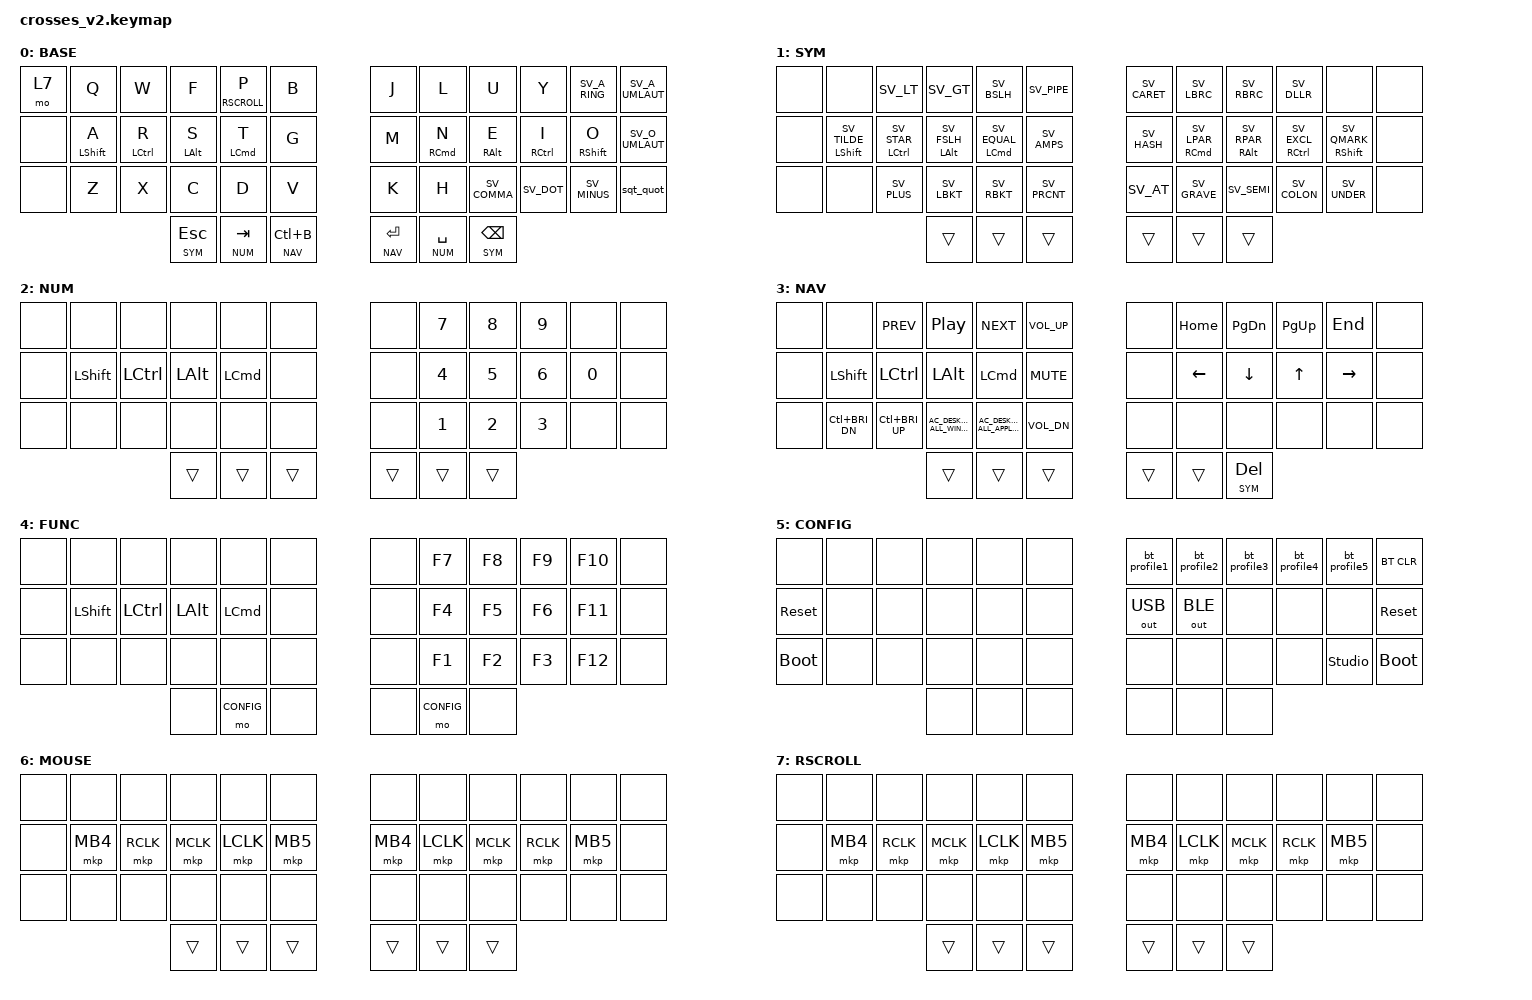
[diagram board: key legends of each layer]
#include <behaviors.dtsi>
#include <dt-bindings/zmk/bt.h>
#include <dt-bindings/zmk/keys.h>
#include <dt-bindings/zmk/outputs.h>
#include <dt-bindings/zmk/pointing.h>
#include <zephyr/dt-bindings/input/input-event-codes.h>

#ifndef KEYMAP_DRAWER
#include "keys_sv.h"
#endif

#define BASE    0
#define SYM     1
#define NUM     2
#define NAV     3
#define FN      4
#define CONFIG  5
#define MOUSE   6
#define RSCROLL 7

#define M_FIND  LG(F)
#define M_UNDO  LG(Z)
#define M_COPY  LG(C)
#define M_CUT   LG(X)
#define M_PASTE LG(V)
#define M_ALL   LG(A)
#define M_SAVE  LG(S)
#define M_NEW   LG(N)
#define TMUX    LC(B)
#define BRI_UP LC(C_BRI_UP)
#define BRI_DN LC(C_BRI_DN)

/* 
    ╭────────────────────────┬────────────────────────╮ ╭─────────────────────────┬─────────────────────────╮
    │  0   1   2   3   4   5 │  6   7   8   9  10  11 │ │ LN5 LN4 LN3 LN2 LN1 LN0 │ RN0 RN1 RN2 RN3 RN4 RN5 │
    │ 12  13  14  15  16  17 │ 18  19  20  21  22  23 │ │ LT5 LT4 LT3 LT2 LT1 LT0 │ RT0 RT1 RT2 RT3 RT4 RT5 │
    │ 24  25  26  27  28  29 │ 30  31  32  33  34  35 │ │ LM5 LM4 LM3 LM2 LM1 LM0 │ RM0 RM1 RM2 RM3 RM4 RM5 │
    ╰───────────╮ 36  37  38 │ 39  40  41 ╭───────────╯ ╰───────────╮ LH2 LH1 LH0 │ RH0 RH1 RH2 ╭───────────╯
                ╰────────────┴────────────╯                           ╰───────────┴─────────────╯
*/

/ {
    /omit-if-no-ref/ zip_temp_layer: zip_temp_layer {
        compatible = "zmk,input-processor-temp-layer";
        #input-processor-cells = <2>;
        require-prior-idle-ms = <1000>;
        excluded-positions = <13 14 15 16 17 18 19 20 21 22>;
    };
};

/ {
    chosen { zmk,physical-layout = &gggw_crosses_42_layout; };

    behaviors {
        /*
        * Sticky key settings
        */
        sk_mod: sk_mod {
            compatible = "zmk,behavior-sticky-key";
            label = "SK_MOD";
            #binding-cells = <1>;
            bindings = <&kp>;
            release-after-ms = <900>;
            quick-release;
        };

        /*
        * Homerow mods - left hand
        */
        hml: homerow_mod_left {
            compatible = "zmk,behavior-hold-tap";
            label = "HML";
            #binding-cells = <2>;
            flavor = "balanced";
            tapping-term-ms = <280>;
            quick-tap-ms = <175>;
            require-prior-idle-ms = <150>;
            bindings = <&kp>, <&kp>;
            hold-trigger-key-positions = <
                6  7  8  9  10 11
                18 19 20 21 22 23
                30 31 32 33 34 35
                39 40 41
            >;
            hold-trigger-on-release;
        };

        /*
        * Homerow mods - right hand
        */
        hmr: homerow_mod_right {
            compatible = "zmk,behavior-hold-tap";
            label = "HMR";
            #binding-cells = <2>;
            flavor = "balanced";
            tapping-term-ms = <280>;
            quick-tap-ms = <175>;
            require-prior-idle-ms = <150>;
            bindings = <&kp>, <&kp>;
            hold-trigger-key-positions = <
                0  1  2  3  4  5
                12 13 14 15 16 17
                24 25 26 27 28 29
                36 37 38
            >;
            hold-trigger-on-release;
        };

        /*
        * Navigation hold taps
        */
        /*
        mt_home: mt_home {
            compatible = "zmk,behavior-hold-tap";
            label = "MT_HOME";
            #binding-cells = <2>;
            flavor = "tap-preferred";
            tapping-term-ms = <220>;
            quick-tap-ms = <220>;
            bindings = <&kp HOME>, <&kp>;
        };

        mt_end: mt_end {
            compatible = "zmk,behavior-hold-tap";
            label = "MT_END";
            #binding-cells = <2>;
            flavor = "tap-preferred";
            tapping-term-ms = <220>;
            quick-tap-ms = <220>;
            bindings = <&kp END>, <&kp>;
        };
        */

        /*
        * Mod morphs
        */
        sqt_quot: sqt_quot {
            compatible = "zmk,behavior-mod-morph";
            label = "SQT_QUOT";
            #binding-cells = <0>;
            bindings = <&kp SV_SQT>, <&kp SV_DQT>;
            mods = <(MOD_LSFT|MOD_RSFT)>;
        };

        
        smart_shft: smart_shft {
            compatible = "zmk,behavior-mod-morph";
            label = "SMART_SHIFT";
            #binding-cells = <0>;
            bindings = <&sk LSHIFT>, <&caps_word>;
            mods = <(MOD_LSFT)>;
        };
        /*
        right_scroll: right_scroll {
            compatible = "zmk,behavior-macro";
            #binding-cells = <0>;
            init-delay-ms = <0>;
            bindings 
                = <&pipe_switch_r 1 0>
                , <&macro_pause_for_release> 
                , <&pipe_switch_r 0 0>
            ;
            label = "RIGHT_SCROLL";
        };
        */
        /*
        r_scroll: right_scroll_hold_tap {
            compatible = "zmk,behavior-hold-tap";
            #binding-cells = <2>;
            flavor = "hold-preferred";
            tapping-term-ms = <0>; // Trigger instantly on touch
            bindings = <&pipe_switch_r>, <&pipe_switch_r>;
        };
        */
        /*
        * Bluetooth Macros
        */
        bt_profile1: bt_profile1 {
            compatible = "zmk,behavior-macro";
            #binding-cells = <0>;
            bindings = <&out OUT_BLE &bt BT_SEL 0>;
            label = "BT_PROFILE1";
        };

        bt_profile2: bt_profile2 {
            compatible = "zmk,behavior-macro";
            #binding-cells = <0>;
            bindings = <&out OUT_BLE &bt BT_SEL 1>;
            label = "BT_PROFILE2";
        };

        bt_profile3: bt_profile3 {
            compatible = "zmk,behavior-macro";
            #binding-cells = <0>;
            bindings = <&out OUT_BLE &bt BT_SEL 2>;
            label = "BT_PROFILE3";
        };

        bt_profile4: bt_profile4 {
            compatible = "zmk,behavior-macro";
            #binding-cells = <0>;
            bindings = <&out OUT_BLE &bt BT_SEL 3>;
            label = "BT_PROFILE4";
        };

        bt_profile5: bt_profile5 {
            compatible = "zmk,behavior-macro";
            #binding-cells = <0>;
            bindings = <&out OUT_BLE &bt BT_SEL 4>;
            label = "BT_PROFILE5";
        };

    };

    conditional_layers {
        compatible = "zmk,conditional-layers";
        fn_layer {
            if-layers = <SYM NAV>;
            then-layer = <FN>;
        };
        /*
        conf_layer {
            if-layers = <SYM NAV NUM>;
            then-layer = <CONFIG>;
        };
        */
    };

    keymap {
        compatible = "zmk,keymap";
        base_layer {
            display-name = "BASE";
            bindings = <
                &mo 7     &kp Q          &kp W         &kp F        &lt RSCROLL P   &kp B             &kp J        &kp L          &kp U         &kp Y         &kp SV_A_RING  &kp SV_A_UMLAUT
                &none     &hml LSHIFT A  &hml LCTRL R  &hml LALT S  &hml LCMD T     &kp G             &kp M        &hmr RCMD N    &hmr RALT E   &hmr RCTRL I  &hmr RSHIFT O  &kp SV_O_UMLAUT
                &none     &kp Z          &kp X         &kp C        &kp D           &kp V             &kp K        &kp H          &kp SV_COMMA  &kp SV_DOT    &kp SV_MINUS   &sqt_quot
                                                       &lt SYM ESC  &lt NUM TAB     &lt NAV TMUX      &lt NAV RET  &lt NUM SPACE  &lt SYM BSPC
            >;
        };

        sym_layer {
            display-name = "SYM";
            bindings = <
                &none  &none                 &kp SV_LT           &kp SV_GT          &kp SV_BSLH         &kp SV_PIPE        &kp SV_CARET  &kp SV_LBRC        &kp SV_RBRC        &kp SV_DLLR         &none                 &none
                &none  &hml LSHIFT SV_TILDE  &hml LCTRL SV_STAR  &hml LALT SV_FSLH  &hml LCMD SV_EQUAL  &kp SV_AMPS        &kp SV_HASH   &hmr RCMD SV_LPAR  &hmr RALT SV_RPAR  &hmr RCTRL SV_EXCL  &hmr RSHIFT SV_QMARK  &none
                &none  &none                 &kp SV_PLUS         &kp SV_LBKT        &kp SV_RBKT         &kp SV_PRCNT       &kp SV_AT     &kp SV_GRAVE       &kp SV_SEMI        &kp SV_COLON        &kp SV_UNDER          &none
                                                                 &trans             &trans              &trans             &trans        &trans             &trans
            >;
        };

        num_layer {
            display-name = "NUM";
            bindings = <
                &none  &none       &none      &none     &none     &none       &none   &kp N7  &kp N8  &kp N9  &none   &none
                &none  &kp LSHIFT  &kp LCTRL  &kp LALT  &kp LCMD  &none       &none   &kp N4  &kp N5  &kp N6  &kp N0  &none
                &none  &none       &none      &none     &none     &none       &none   &kp N1  &kp N2  &kp N3  &none   &none
                                              &trans    &trans    &trans      &trans  &trans  &trans
            >;
        };

        nav_layer {
            display-name = "NAV";
            bindings = <
                &none  &none       &kp C_PREV  &kp C_PP                           &kp C_NEXT                              &kp C_VOL_UP       &none   &kp HOME  &kp PG_DN  &kp PG_UP  &kp END    &none
                &none  &kp LSHIFT  &kp LCTRL   &kp LALT                           &kp LCMD                                &kp C_MUTE         &none   &kp LEFT  &kp DOWN   &kp UP     &kp RIGHT  &none
                &none  &kp BRI_DN  &kp BRI_UP  &kp C_AC_DESKTOP_SHOW_ALL_WINDOWS  &kp C_AC_DESKTOP_SHOW_ALL_APPLICATIONS  &kp C_VOL_DN       &none   &none     &none      &none      &none      &none
                                               &trans                             &trans                                  &trans             &trans  &trans    &lt SYM DEL
            >;
        };

        fn_layer {
            display-name = "FUNC";
            bindings = <
                &none  &none       &none      &none     &none       &none        &none   &kp F7      &kp F8  &kp F9  &kp F10  &none
                &none  &kp LSHIFT  &kp LCTRL  &kp LALT  &kp LCMD    &none        &none   &kp F4      &kp F5  &kp F6  &kp F11  &none
                &none  &none       &none      &none     &none       &none        &none   &kp F1      &kp F2  &kp F3  &kp F12  &none
                                              &none     &mo CONFIG  &none        &none   &mo CONFIG  &none   
             >;
        };

        conf_layer {
            display-name = "CONFIG";
            bindings = <
                &none        &none  &none  &none  &none  &none        &bt_profile1  &bt_profile2  &bt_profile3  &bt_profile4  &bt_profile5    &bt BT_CLR
                &sys_reset   &none  &none  &none  &none  &none        &out OUT_USB  &out OUT_BLE  &none         &none         &none           &sys_reset
                &bootloader  &none  &none  &none  &none  &none        &none         &none         &none         &none         &studio_unlock  &bootloader
                                           &none  &none  &none        &none         &none         &none   
             >;
        };

        mouse_layer {
            display-name = "MOUSE";
            bindings = <
                &none  &none     &none      &none      &none      &none         &none     &none      &none      &none      &none     &none
                &none  &mkp MB4  &mkp RCLK  &mkp MCLK  &mkp LCLK  &mkp MB5      &mkp MB4  &mkp LCLK  &mkp MCLK  &mkp RCLK  &mkp MB5  &none
                &none  &none     &none      &none      &none      &none         &none     &none      &none      &none      &none     &none
                                            &trans     &trans     &trans        &trans    &trans     &trans
            >;
        };

        scroll_layer {
            display-name = "RSCROLL";            
            bindings = <
                &none  &none     &none      &none      &none      &none         &none     &none      &none      &none      &none     &none
                &none  &mkp MB4  &mkp RCLK  &mkp MCLK  &mkp LCLK  &mkp MB5      &mkp MB4  &mkp LCLK  &mkp MCLK  &mkp RCLK  &mkp MB5  &none
                &none  &none     &none      &none      &none      &none         &none     &none      &none      &none      &none     &none
                                            &trans     &trans     &trans        &trans    &trans     &trans
            >;
        };
    };
};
